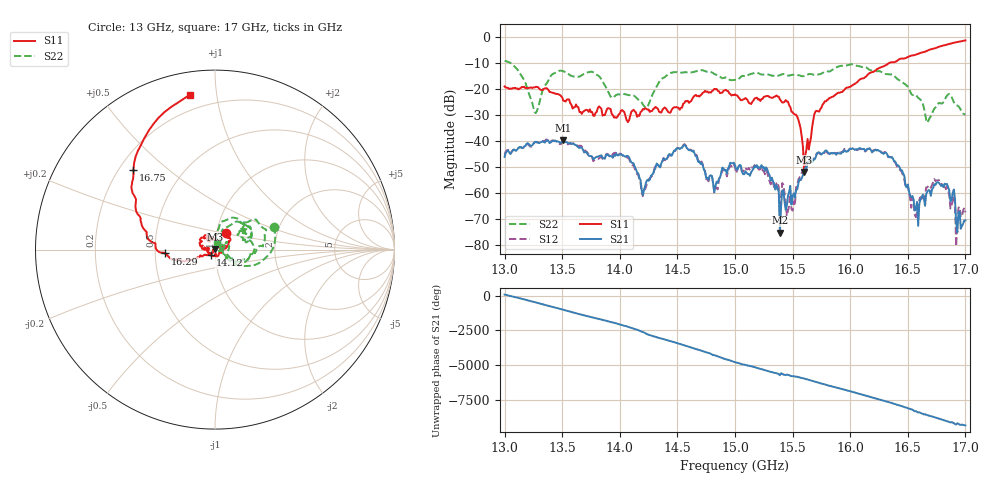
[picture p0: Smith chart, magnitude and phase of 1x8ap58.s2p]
!Keysight Technologies,P9374A,MY57211807,A.19.30.04
!Date: Friday, May 08, 2026 15:00:58
!Correction: S11(C  2-Port  )
!S21(C  2-Port  )
!S12(C  2-Port  )
!S22(C  2-Port  )
!S2P File: Measurements: S11, S21, S12, S22:
# Hz S  dB  R 50
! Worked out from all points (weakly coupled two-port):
!   401 points, 13 GHz to 17 GHz, reference 50 ohm
!   highest |S21| = -39.64 dB at 13.51 GHz (marker M1); lowest = -75.2 dB at 15.39 GHz (marker M2)
!   lowest |S11| = -51.8 dB at 15.6 GHz (marker M3), VSWR 1.01, Z = 50.2 + j0.143 ohm
!   |S11| at or under -10 dB: start of sweep to 16.33 GHz
!   |S22| runs from -32.8 to -9.1 dB; largest |S21 - S12| = 0.00095
!   S11 on the Smith chart (normalised r, x): 13 GHz: 1.11, +0.21; 14.12 GHz: 0.95, -0.06; 16.29 GHz: 0.57, -0.03; 16.75 GHz: 0.26, +0.38; 17 GHz: 0.12, +0.85
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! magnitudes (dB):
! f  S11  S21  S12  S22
! 13 GHz  -18.9  -46.0  -45.2  -9.1
! 13.27 GHz  -19.0  -40.2  -40.3  -29.2
! 13.51 GHz  -24.4  -39.6  -40.2  -13.1
! 13.67 GHz  -29.5  -42.4  -42.0  -14.6
! 14.12 GHz  -27.9  -48.5  -49.2  -22.4
! 14.21 GHz  -27.7  -58.9  -58.6  -26.4
! 14.34 GHz  -28.6  -49.6  -49.3  -17.3
! 14.57 GHz  -24.5  -41.7  -41.4  -13.4
! 14.83 GHz  -20.0  -57.2  -58.1  -14.3
! 15 GHz  -21.9  -49.2  -50.1  -16.4
! 15.26 GHz  -22.8  -51.4  -52.7  -14.2
! 15.39 GHz  -23.9  -75.2  -69.1  -14.5
! 15.5 GHz  -28.9  -61.2  -66.7  -14.4
! 15.6 GHz  -51.8  -51.9  -51.2  -14.9
! 15.67 GHz  -34.3  -48.1  -47.3  -14.2
! 16.29 GHz  -11.1  -44.9  -44.5  -13.9
! 16.34 GHz  -9.8  -46.1  -45.9  -14.2
! 16.57 GHz  -6.6  -66.3  -69.2  -22.2
! 16.67 GHz  -5.1  -59.4  -57.7  -32.8
! 16.75 GHz  -4.0  -55.9  -55.1  -26.5
! 16.94 GHz  -1.7  -67.4  -65.6  -26.6
! 17 GHz  -1.2  -70.4  -67.4  -29.8
